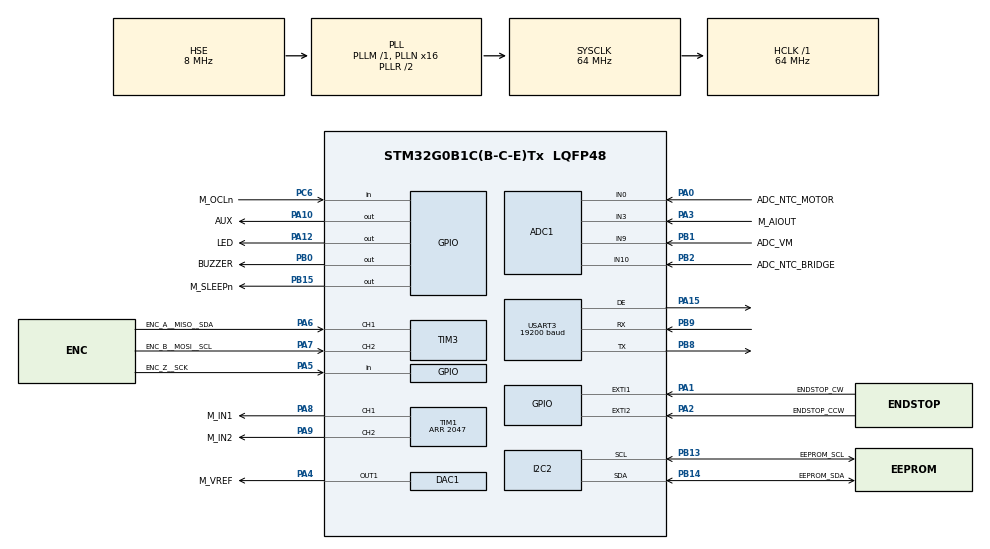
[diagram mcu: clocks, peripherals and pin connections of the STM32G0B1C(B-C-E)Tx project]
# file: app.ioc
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ADC1.Channel-0\#ChannelRegularConversion=ADC_CHANNEL_0
ADC1.Channel-1\#ChannelRegularConversion=ADC_CHANNEL_3
ADC1.Channel-2\#ChannelRegularConversion=ADC_CHANNEL_9
ADC1.Channel-3\#ChannelRegularConversion=ADC_CHANNEL_10
ADC1.ClockPrescaler=ADC_CLOCK_ASYNC_DIV2
ADC1.ContinuousConvMode=ENABLE
ADC1.DMAContinuousRequests=ENABLE
ADC1.EOCSelection=ADC_EOC_SINGLE_CONV
ADC1.NbrOfConversion=4
ADC1.NbrOfConversionFlag=1
ADC1.Overrun=ADC_OVR_DATA_OVERWRITTEN
ADC1.Rank-0\#ChannelRegularConversion=1
ADC1.Rank-1\#ChannelRegularConversion=2
ADC1.Rank-2\#ChannelRegularConversion=3
ADC1.Rank-3\#ChannelRegularConversion=4
ADC1.SamplingTime-0\#ChannelRegularConversion=ADC_SAMPLINGTIME_COMMON_1
ADC1.SamplingTime-1\#ChannelRegularConversion=ADC_SAMPLINGTIME_COMMON_1
ADC1.SamplingTime-2\#ChannelRegularConversion=ADC_SAMPLINGTIME_COMMON_1
ADC1.SamplingTime-3\#ChannelRegularConversion=ADC_SAMPLINGTIME_COMMON_1
ADC1.SamplingTimeCommon1=ADC_SAMPLETIME_160CYCLES_5
ADC1.SamplingTimeCommon2=ADC_SAMPLETIME_160CYCLES_5
ADC1.SelectedChannel=ADC_CHANNEL_0|ADC_CHANNEL_3|ADC_CHANNEL_9|ADC_CHANNEL_10
ADC1.master=1
DAC1.DAC_Channel-DAC_OUT1=DAC_CHANNEL_1
DAC1.DAC_SampleAndHold-DAC_OUT1=DAC_SAMPLEANDHOLD_DISABLE
Dma.ADC1.0.Direction=DMA_PERIPH_TO_MEMORY
Dma.ADC1.0.EventEnable=DISABLE
Dma.ADC1.0.Instance=DMA1_Channel1
Dma.ADC1.0.MemDataAlignment=DMA_MDATAALIGN_HALFWORD
Dma.ADC1.0.MemInc=DMA_MINC_ENABLE
Dma.ADC1.0.Mode=DMA_CIRCULAR
Dma.ADC1.0.PeriphDataAlignment=DMA_PDATAALIGN_HALFWORD
Dma.ADC1.0.PeriphInc=DMA_PINC_DISABLE
Dma.ADC1.0.Polarity=HAL_DMAMUX_REQ_GEN_RISING
Dma.ADC1.0.Priority=DMA_PRIORITY_LOW
Dma.ADC1.0.RequestNumber=1
Dma.ADC1.0.SignalID=NONE
Dma.ADC1.0.SyncEnable=DISABLE
Dma.ADC1.0.SyncPolarity=HAL_DMAMUX_SYNC_NO_EVENT
Dma.ADC1.0.SyncRequestNumber=1
Dma.ADC1.0.SyncSignalID=NONE
Dma.Request0=ADC1
I2C2.Timing=0x10B17DB5
IWDG.Prescaler=IWDG_PRESCALER_32
Mcu.Family=STM32G0
Mcu.Name=STM32G0B1C(B-C-E)Tx
Mcu.Package=LQFP48
Mcu.UserConstants=TIM14_PSC,63;TIM14_AAR,9999
NVIC.EXTI0_1_IRQn=true\:0\:0\:false\:false\:true\:true\:true\:true
NVIC.EXTI2_3_IRQn=true\:0\:0\:false\:false\:true\:true\:true\:true
NVIC.TIM14_IRQn=true\:0\:0\:false\:false\:true\:true\:true\:true
NVIC.USART3_4_5_6_LPUART1_IRQn=true\:0\:0\:false\:false\:true\:true\:true\:true
PA0.GPIO_Label=ADC_NTC_MOTOR
PA0.Mode=IN0
PA0.Signal=ADC1_IN0
PA1.GPIO_Label=ENDSTOP_CW
PA1.GPIO_ModeDefaultEXTI=GPIO_MODE_IT_FALLING
PA1.Signal=GPXTI1
PA10.GPIO_Label=AUX
PA10.Signal=GPIO_Output
PA12\ [PA10].GPIO_Label=LED
PA12\ [PA10].Signal=GPIO_Output
PA13.Mode=Serial_Wire
PA13.Signal=SYS_SWDIO
PA14-BOOT0.Mode=Serial_Wire
PA14-BOOT0.Signal=SYS_SWCLK
PA15.Mode=Hardware Flow Control (RS485)
PA15.Signal=USART3_DE
PA2.GPIO_Label=ENDSTOP_CCW
PA2.GPIO_ModeDefaultEXTI=GPIO_MODE_IT_FALLING
PA2.Signal=GPXTI2
PA3.GPIO_Label=M_AIOUT
PA3.Mode=IN3
PA3.Signal=ADC1_IN3
PA4.GPIO_Label=M_VREF
PA4.Signal=COMP_DAC11_group
PA5.GPIO_Label=ENC_Z__SCK
PA5.Signal=SharedStack_PA5
PA5.Stacked=true
PA6.GPIO_Label=ENC_A__MISO__SDA
PA6.GPIO_PuPd=GPIO_PULLUP
PA6.Signal=SharedStack_PA6
PA6.Stacked=true
PA7.GPIO_Label=ENC_B__MOSI__SCL
PA7.Signal=SharedStack_PA7
PA7.Stacked=true
PA8.GPIO_Label=M_IN1
PA8.Signal=S_TIM1_CH1
PA9.GPIO_Label=M_IN2
PA9.Signal=S_TIM1_CH2
PB0.GPIO_Label=BUZZER
PB0.Signal=GPIO_Output
PB1.GPIO_Label=ADC_VM
PB1.Mode=IN9
PB1.Signal=ADC1_IN9
PB13.GPIO_Label=EEPROM_SCL
PB13.Mode=I2C
PB13.Signal=I2C2_SCL
PB14.GPIO_Label=EEPROM_SDA
PB14.Mode=I2C
PB14.Signal=I2C2_SDA
PB15.GPIO_Label=M_SLEEPn
PB15.Signal=GPIO_Output
PB2.GPIO_Label=ADC_NTC_BRIDGE
PB2.Mode=IN10
PB2.Signal=ADC1_IN10
PB8.Signal=SharedStack_PB8
PB8.Stacked=true
PB9.Signal=SharedStack_PB9
PB9.Stacked=true
PC6.GPIO_Label=M_OCLn
PC6.Signal=GPIO_Input
PF0-OSC_IN\ (PF0).Mode=HSE-External-Oscillator
PF0-OSC_IN\ (PF0).Signal=RCC_OSC_IN
PF1-OSC_OUT\ (PF1).Mode=HSE-External-Oscillator
PF1-OSC_OUT\ (PF1).Signal=RCC_OSC_OUT
ProjectManager.HeapSize=0x200
ProjectManager.StackSize=0x400
ProjectManager.TargetToolchain=STM32CubeIDE
RCC.ADCFreq_Value=64000000
RCC.AHBFreq_Value=64000000
RCC.CortexFreq_Value=64000000
RCC.EXTERNAL_CLOCK_VALUE=48000
RCC.HCLKFreq_Value=64000000
RCC.HSE_VALUE=8000000
RCC.HSI48_VALUE=48000000
RCC.HSI_VALUE=16000000
RCC.LSE_VALUE=32768
RCC.PLLN=16
RCC.PLLP=RCC_PLLP_DIV4
RCC.PLLSourceVirtual=RCC_PLLSOURCE_HSE
RCC.SYSCLKFreq_VALUE=64000000
RCC.SYSCLKSource=RCC_SYSCLKSOURCE_PLLCLK
RCC.USBFreq_Value=48000000
RCC.VCOOutputFreq_Value=128000000
SH.COMP_DAC11_group.0=DAC1_OUT1,DAC_OUT1
SH.S_TIM1_CH1.0=TIM1_CH1,PWM Generation1 CH1
SH.S_TIM1_CH2.0=TIM1_CH2,PWM Generation2 CH2
SH.SharedStack_PA5.0=GPIO_Input
SH.SharedStack_PA5.1=SPI1_SCK
SH.SharedStack_PA6.0=TIM3_CH1,Encoder_Interface
SH.SharedStack_PA6.1=I2C3_SDA
SH.SharedStack_PA6.2=SPI1_MISO
SH.SharedStack_PA7.0=TIM3_CH2,Encoder_Interface
SH.SharedStack_PA7.1=I2C3_SCL
SH.SharedStack_PA7.2=SPI1_MOSI
SH.SharedStack_PB8.0=USART3_TX,Asynchronous
SH.SharedStack_PB8.1=FDCAN1_RX
SH.SharedStack_PB9.0=USART3_RX,Asynchronous
SH.SharedStack_PB9.1=FDCAN1_TX
TIM1.Channel-PWM\ Generation1\ CH1=TIM_CHANNEL_1
TIM1.Channel-PWM\ Generation2\ CH2=TIM_CHANNEL_2
TIM1.Period=2047
TIM14.Period=TIM14_AAR
TIM14.Prescaler=TIM14_PSC
TIM16.Period=65535
TIM16.Prescaler=3199
TIM3.IC1Polarity=TIM_ICPOLARITY_FALLING
TIM3.IC2Polarity=TIM_ICPOLARITY_FALLING
USART3.AutoBaudRateEnableParam=UART_ADVFEATURE_AUTOBAUDRATE_DISABLE
USART3.BaudRate=19200
USART3.DataInvertParam=ADVFEATURE_DATAINV_DISABLE
USART3.OverrunDisableParam=ADVFEATURE_OVERRUN_ENABLE
USART3.SwapParam=ADVFEATURE_SWAP_DISABLE
USART3.VirtualMode-Asynchronous=VM_ASYNC
USART3.VirtualMode-Hardware\ Flow\ Control\ (RS485)=VM_ASYNC
VP_CRC_VS_CRC.Mode=CRC_Activate
VP_IWDG_VS_IWDG.Mode=IWDG_Activate
VP_SYS_VS_DBSignals.Mode=DisableDeadBatterySignals
VP_TIM14_VS_ClockSourceINT.Mode=Enable_Timer
VP_TIM16_VS_ClockSourceINT.Mode=Enable_Timer
board=custom

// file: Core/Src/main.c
/* USER CODE BEGIN Header */
/**
  ******************************************************************************
  * @file           : main.c
  * @brief          : Main program body
  ******************************************************************************
  * @attention
  *
  * Copyright (c) 2025 STMicroelectronics.
  * All rights reserved.
  *
  * This software is licensed under terms that can be found in the LICENSE file
  * in the root directory of this software component.
  * If no LICENSE file comes with this software, it is provided AS-IS.
  *
  ******************************************************************************
  */
/* USER CODE END Header */
#include "main.h"

/* USER CODE BEGIN Includes */
#include "enc.h"
#include "motor.h"
#include "shared.h"
#include "modbus.h"
#include "utils.h"
#include <stdbool.h>
#include "adc.h"

/* USER CODE END Includes */

ADC_HandleTypeDef hadc1;
DMA_HandleTypeDef hdma_adc1;

CRC_HandleTypeDef hcrc;

DAC_HandleTypeDef hdac1;

I2C_HandleTypeDef hi2c2;

IWDG_HandleTypeDef hiwdg;

TIM_HandleTypeDef htim1;
TIM_HandleTypeDef htim3;
TIM_HandleTypeDef htim14;
TIM_HandleTypeDef htim16;

UART_HandleTypeDef huart3;

/* USER CODE BEGIN PV */

extern uint32_t _bflag;
uint32_t *bootloaderFlag = (uint32_t *)(&_bflag);

/* USER CODE END PV */

void SystemClock_Config(void);
static void MX_GPIO_Init(void);
static void MX_DMA_Init(void);
static void MX_ADC1_Init(void);
static void MX_DAC1_Init(void);
static void MX_I2C2_Init(void);
static void MX_TIM1_Init(void);
static void MX_USART3_UART_Init(void);
static void MX_TIM14_Init(void);
static void MX_CRC_Init(void);
static void MX_TIM3_Init(void);
static void MX_TIM16_Init(void);

int main(void)
{

  /* MCU Configuration--------------------------------------------------------*/

  /* Reset of all peripherals, Initializes the Flash interface and the Systick. */
  HAL_Init();

  /* USER CODE BEGIN Init */
  hiwdg.Instance = IWDG;
  /* USER CODE END Init */

  /* Configure the system clock */
  SystemClock_Config();

  /* Initialize all configured peripherals */
  MX_GPIO_Init();
  MX_DMA_Init();
  MX_ADC1_Init();
  MX_DAC1_Init();
  MX_I2C2_Init();
  MX_TIM1_Init();
  MX_USART3_UART_Init();
  MX_TIM14_Init();
  MX_CRC_Init();
  MX_TIM3_Init();
  MX_TIM16_Init();
  /* USER CODE BEGIN 2 */
//  CONFIG_Save();

  CONFIG_Load();

  COM_Init();

  ENCODER_Init();

  ADC_Init();

  MOTOR_Init();

  /* USER CODE END 2 */

  /* Infinite loop */
  /* USER CODE BEGIN WHILE */
  BEEP_IT(50, 1);

  while (1)
  {
	ENCODER_MainLoop();
	COM_MainLoop();
	ADC_MainLoop();
	MOTOR_MainLoop();
    /* USER CODE END WHILE */

    /* USER CODE BEGIN 3 */
	UTILS_MainLoop();
 	HAL_IWDG_Refresh(&hiwdg);
  }
  /* USER CODE END 3 */
}

void SystemClock_Config(void)
{
  RCC_OscInitTypeDef RCC_OscInitStruct = {0};
  RCC_ClkInitTypeDef RCC_ClkInitStruct = {0};

  /** Configure the main internal regulator output voltage
  */
  HAL_PWREx_ControlVoltageScaling(PWR_REGULATOR_VOLTAGE_SCALE1);

  /** Initializes the RCC Oscillators according to the specified parameters
  * in the RCC_OscInitTypeDef structure.
  */
  RCC_OscInitStruct.OscillatorType = RCC_OSCILLATORTYPE_LSI|RCC_OSCILLATORTYPE_HSE;
  RCC_OscInitStruct.HSEState = RCC_HSE_ON;
  RCC_OscInitStruct.LSIState = RCC_LSI_ON;
  RCC_OscInitStruct.PLL.PLLState = RCC_PLL_ON;
  RCC_OscInitStruct.PLL.PLLSource = RCC_PLLSOURCE_HSE;
  RCC_OscInitStruct.PLL.PLLM = RCC_PLLM_DIV1;
  RCC_OscInitStruct.PLL.PLLN = 16;
  RCC_OscInitStruct.PLL.PLLP = RCC_PLLP_DIV4;
  RCC_OscInitStruct.PLL.PLLQ = RCC_PLLQ_DIV2;
  RCC_OscInitStruct.PLL.PLLR = RCC_PLLR_DIV2;
  if (HAL_RCC_OscConfig(&RCC_OscInitStruct) != HAL_OK)
  {
    Error_Handler();
  }

  /** Initializes the CPU, AHB and APB buses clocks
  */
  RCC_ClkInitStruct.ClockType = RCC_CLOCKTYPE_HCLK|RCC_CLOCKTYPE_SYSCLK
                              |RCC_CLOCKTYPE_PCLK1;
  RCC_ClkInitStruct.SYSCLKSource = RCC_SYSCLKSOURCE_PLLCLK;
  RCC_ClkInitStruct.AHBCLKDivider = RCC_SYSCLK_DIV1;
  RCC_ClkInitStruct.APB1CLKDivider = RCC_HCLK_DIV1;

  if (HAL_RCC_ClockConfig(&RCC_ClkInitStruct, FLASH_LATENCY_2) != HAL_OK)
  {
    Error_Handler();
  }
}

static void MX_ADC1_Init(void)
{

  ADC_ChannelConfTypeDef sConfig = {0};

  /** Configure the global features of the ADC (Clock, Resolution, Data Alignment and number of conversion)
  */
  hadc1.Instance = ADC1;
  hadc1.Init.ClockPrescaler = ADC_CLOCK_ASYNC_DIV2;
  hadc1.Init.Resolution = ADC_RESOLUTION_12B;
  hadc1.Init.DataAlign = ADC_DATAALIGN_RIGHT;
  hadc1.Init.ScanConvMode = ADC_SCAN_ENABLE;
  hadc1.Init.EOCSelection = ADC_EOC_SINGLE_CONV;
  hadc1.Init.LowPowerAutoWait = DISABLE;
  hadc1.Init.LowPowerAutoPowerOff = DISABLE;
  hadc1.Init.ContinuousConvMode = ENABLE;
  hadc1.Init.NbrOfConversion = 4;
  hadc1.Init.ExternalTrigConv = ADC_SOFTWARE_START;
  hadc1.Init.ExternalTrigConvEdge = ADC_EXTERNALTRIGCONVEDGE_NONE;
  hadc1.Init.DMAContinuousRequests = ENABLE;
  hadc1.Init.Overrun = ADC_OVR_DATA_OVERWRITTEN;
  hadc1.Init.SamplingTimeCommon1 = ADC_SAMPLETIME_160CYCLES_5;
  hadc1.Init.SamplingTimeCommon2 = ADC_SAMPLETIME_160CYCLES_5;
  hadc1.Init.OversamplingMode = DISABLE;
  hadc1.Init.TriggerFrequencyMode = ADC_TRIGGER_FREQ_HIGH;
  if (HAL_ADC_Init(&hadc1) != HAL_OK)
  {
    Error_Handler();
  }

  /** Configure Regular Channel
  */
  sConfig.Channel = ADC_CHANNEL_0;
  sConfig.Rank = ADC_REGULAR_RANK_1;
  sConfig.SamplingTime = ADC_SAMPLINGTIME_COMMON_1;
  if (HAL_ADC_ConfigChannel(&hadc1, &sConfig) != HAL_OK)
  {
    Error_Handler();
  }

  /** Configure Regular Channel
  */
  sConfig.Channel = ADC_CHANNEL_3;
  sConfig.Rank = ADC_REGULAR_RANK_2;
  if (HAL_ADC_ConfigChannel(&hadc1, &sConfig) != HAL_OK)
  {
    Error_Handler();
  }

  /** Configure Regular Channel
  */
  sConfig.Channel = ADC_CHANNEL_9;
  sConfig.Rank = ADC_REGULAR_RANK_3;
  if (HAL_ADC_ConfigChannel(&hadc1, &sConfig) != HAL_OK)
  {
    Error_Handler();
  }

  /** Configure Regular Channel
  */
  sConfig.Channel = ADC_CHANNEL_10;
  sConfig.Rank = ADC_REGULAR_RANK_4;
  if (HAL_ADC_ConfigChannel(&hadc1, &sConfig) != HAL_OK)
  {
    Error_Handler();
  }

}

static void MX_CRC_Init(void)
{

  hcrc.Instance = CRC;
  hcrc.Init.DefaultPolynomialUse = DEFAULT_POLYNOMIAL_ENABLE;
  hcrc.Init.DefaultInitValueUse = DEFAULT_INIT_VALUE_ENABLE;
  hcrc.Init.InputDataInversionMode = CRC_INPUTDATA_INVERSION_NONE;
  hcrc.Init.OutputDataInversionMode = CRC_OUTPUTDATA_INVERSION_DISABLE;
  hcrc.InputDataFormat = CRC_INPUTDATA_FORMAT_BYTES;
  if (HAL_CRC_Init(&hcrc) != HAL_OK)
  {
    Error_Handler();
  }

}

static void MX_DAC1_Init(void)
{

  DAC_ChannelConfTypeDef sConfig = {0};

  /** DAC Initialization
  */
  hdac1.Instance = DAC1;
  if (HAL_DAC_Init(&hdac1) != HAL_OK)
  {
    Error_Handler();
  }

  /** DAC channel OUT1 config
  */
  sConfig.DAC_SampleAndHold = DAC_SAMPLEANDHOLD_DISABLE;
  sConfig.DAC_Trigger = DAC_TRIGGER_NONE;
  sConfig.DAC_OutputBuffer = DAC_OUTPUTBUFFER_ENABLE;
  sConfig.DAC_ConnectOnChipPeripheral = DAC_CHIPCONNECT_DISABLE;
  sConfig.DAC_UserTrimming = DAC_TRIMMING_FACTORY;
  if (HAL_DAC_ConfigChannel(&hdac1, &sConfig, DAC_CHANNEL_1) != HAL_OK)
  {
    Error_Handler();
  }

}

static void MX_I2C2_Init(void)
{

  hi2c2.Instance = I2C2;
  hi2c2.Init.Timing = 0x10B17DB5;
  hi2c2.Init.OwnAddress1 = 0;
  hi2c2.Init.AddressingMode = I2C_ADDRESSINGMODE_7BIT;
  hi2c2.Init.DualAddressMode = I2C_DUALADDRESS_DISABLE;
  hi2c2.Init.OwnAddress2 = 0;
  hi2c2.Init.OwnAddress2Masks = I2C_OA2_NOMASK;
  hi2c2.Init.GeneralCallMode = I2C_GENERALCALL_DISABLE;
  hi2c2.Init.NoStretchMode = I2C_NOSTRETCH_DISABLE;
  if (HAL_I2C_Init(&hi2c2) != HAL_OK)
  {
    Error_Handler();
  }

  /** Configure Analogue filter
  */
  if (HAL_I2CEx_ConfigAnalogFilter(&hi2c2, I2C_ANALOGFILTER_ENABLE) != HAL_OK)
  {
    Error_Handler();
  }

  /** Configure Digital filter
  */
  if (HAL_I2CEx_ConfigDigitalFilter(&hi2c2, 0) != HAL_OK)
  {
    Error_Handler();
  }

}

void MX_IWDG_Init(void)
{

  hiwdg.Instance = IWDG;
  hiwdg.Init.Prescaler = IWDG_PRESCALER_32;
  hiwdg.Init.Window = 4095;
  hiwdg.Init.Reload = 4095;
  if (HAL_IWDG_Init(&hiwdg) != HAL_OK)
  {
    Error_Handler();
  }

}

static void MX_TIM1_Init(void)
{

  TIM_MasterConfigTypeDef sMasterConfig = {0};
  TIM_OC_InitTypeDef sConfigOC = {0};
  TIM_BreakDeadTimeConfigTypeDef sBreakDeadTimeConfig = {0};

  htim1.Instance = TIM1;
  htim1.Init.Prescaler = 0;
  htim1.Init.CounterMode = TIM_COUNTERMODE_UP;
  htim1.Init.Period = 2047;
  htim1.Init.ClockDivision = TIM_CLOCKDIVISION_DIV1;
  htim1.Init.RepetitionCounter = 0;
  htim1.Init.AutoReloadPreload = TIM_AUTORELOAD_PRELOAD_DISABLE;
  if (HAL_TIM_PWM_Init(&htim1) != HAL_OK)
  {
    Error_Handler();
  }
  sMasterConfig.MasterOutputTrigger = TIM_TRGO_RESET;
  sMasterConfig.MasterOutputTrigger2 = TIM_TRGO2_RESET;
  sMasterConfig.MasterSlaveMode = TIM_MASTERSLAVEMODE_DISABLE;
  if (HAL_TIMEx_MasterConfigSynchronization(&htim1, &sMasterConfig) != HAL_OK)
  {
    Error_Handler();
  }
  sConfigOC.OCMode = TIM_OCMODE_PWM1;
  sConfigOC.Pulse = 0;
  sConfigOC.OCPolarity = TIM_OCPOLARITY_HIGH;
  sConfigOC.OCNPolarity = TIM_OCNPOLARITY_HIGH;
  sConfigOC.OCFastMode = TIM_OCFAST_DISABLE;
  sConfigOC.OCIdleState = TIM_OCIDLESTATE_RESET;
  sConfigOC.OCNIdleState = TIM_OCNIDLESTATE_RESET;
  if (HAL_TIM_PWM_ConfigChannel(&htim1, &sConfigOC, TIM_CHANNEL_1) != HAL_OK)
  {
    Error_Handler();
  }
  if (HAL_TIM_PWM_ConfigChannel(&htim1, &sConfigOC, TIM_CHANNEL_2) != HAL_OK)
  {
    Error_Handler();
  }
  sBreakDeadTimeConfig.OffStateRunMode = TIM_OSSR_DISABLE;
  sBreakDeadTimeConfig.OffStateIDLEMode = TIM_OSSI_DISABLE;
  sBreakDeadTimeConfig.LockLevel = TIM_LOCKLEVEL_OFF;
  sBreakDeadTimeConfig.DeadTime = 0;
  sBreakDeadTimeConfig.BreakState = TIM_BREAK_DISABLE;
  sBreakDeadTimeConfig.BreakPolarity = TIM_BREAKPOLARITY_HIGH;
  sBreakDeadTimeConfig.BreakFilter = 0;
  sBreakDeadTimeConfig.BreakAFMode = TIM_BREAK_AFMODE_INPUT;
  sBreakDeadTimeConfig.Break2State = TIM_BREAK2_DISABLE;
  sBreakDeadTimeConfig.Break2Polarity = TIM_BREAK2POLARITY_HIGH;
  sBreakDeadTimeConfig.Break2Filter = 0;
  sBreakDeadTimeConfig.Break2AFMode = TIM_BREAK_AFMODE_INPUT;
  sBreakDeadTimeConfig.AutomaticOutput = TIM_AUTOMATICOUTPUT_DISABLE;
  if (HAL_TIMEx_ConfigBreakDeadTime(&htim1, &sBreakDeadTimeConfig) != HAL_OK)
  {
    Error_Handler();
  }
  HAL_TIM_MspPostInit(&htim1);

}

static void MX_TIM3_Init(void)
{

  TIM_Encoder_InitTypeDef sConfig = {0};
  TIM_MasterConfigTypeDef sMasterConfig = {0};

  htim3.Instance = TIM3;
  htim3.Init.Prescaler = 0;
  htim3.Init.CounterMode = TIM_COUNTERMODE_UP;
  htim3.Init.Period = 65535;
  htim3.Init.ClockDivision = TIM_CLOCKDIVISION_DIV1;
  htim3.Init.AutoReloadPreload = TIM_AUTORELOAD_PRELOAD_DISABLE;
  sConfig.EncoderMode = TIM_ENCODERMODE_TI1;
  sConfig.IC1Polarity = TIM_ICPOLARITY_FALLING;
  sConfig.IC1Selection = TIM_ICSELECTION_DIRECTTI;
  sConfig.IC1Prescaler = TIM_ICPSC_DIV1;
  sConfig.IC1Filter = 0;
  sConfig.IC2Polarity = TIM_ICPOLARITY_FALLING;
  sConfig.IC2Selection = TIM_ICSELECTION_DIRECTTI;
  sConfig.IC2Prescaler = TIM_ICPSC_DIV1;
  sConfig.IC2Filter = 0;
  if (HAL_TIM_Encoder_Init(&htim3, &sConfig) != HAL_OK)
  {
    Error_Handler();
  }
  sMasterConfig.MasterOutputTrigger = TIM_TRGO_RESET;
  sMasterConfig.MasterSlaveMode = TIM_MASTERSLAVEMODE_DISABLE;
  if (HAL_TIMEx_MasterConfigSynchronization(&htim3, &sMasterConfig) != HAL_OK)
  {
    Error_Handler();
  }

}

static void MX_TIM14_Init(void)
{

  htim14.Instance = TIM14;
  htim14.Init.Prescaler = TIM14_PSC;
  htim14.Init.CounterMode = TIM_COUNTERMODE_UP;
  htim14.Init.Period = TIM14_AAR;
  htim14.Init.ClockDivision = TIM_CLOCKDIVISION_DIV1;
  htim14.Init.AutoReloadPreload = TIM_AUTORELOAD_PRELOAD_DISABLE;
  if (HAL_TIM_Base_Init(&htim14) != HAL_OK)
  {
    Error_Handler();
  }

}

static void MX_TIM16_Init(void)
{

  htim16.Instance = TIM16;
  htim16.Init.Prescaler = 3199;
  htim16.Init.CounterMode = TIM_COUNTERMODE_UP;
  htim16.Init.Period = 65535;
  htim16.Init.ClockDivision = TIM_CLOCKDIVISION_DIV1;
  htim16.Init.RepetitionCounter = 0;
  htim16.Init.AutoReloadPreload = TIM_AUTORELOAD_PRELOAD_DISABLE;
  if (HAL_TIM_Base_Init(&htim16) != HAL_OK)
  {
    Error_Handler();
  }

}

static void MX_USART3_UART_Init(void)
{

  huart3.Instance = USART3;
  huart3.Init.BaudRate = 19200;
  huart3.Init.WordLength = UART_WORDLENGTH_8B;
  huart3.Init.StopBits = UART_STOPBITS_1;
  huart3.Init.Parity = UART_PARITY_NONE;
  huart3.Init.Mode = UART_MODE_TX_RX;
  huart3.Init.HwFlowCtl = UART_HWCONTROL_NONE;
  huart3.Init.OverSampling = UART_OVERSAMPLING_16;
  huart3.Init.OneBitSampling = UART_ONE_BIT_SAMPLE_DISABLE;
  huart3.Init.ClockPrescaler = UART_PRESCALER_DIV1;
  huart3.AdvancedInit.AdvFeatureInit = UART_ADVFEATURE_NO_INIT;
  if (HAL_RS485Ex_Init(&huart3, UART_DE_POLARITY_HIGH, 0, 0) != HAL_OK)
  {
    Error_Handler();
  }
  if (HAL_UARTEx_SetTxFifoThreshold(&huart3, UART_TXFIFO_THRESHOLD_1_8) != HAL_OK)
  {
    Error_Handler();
  }
  if (HAL_UARTEx_SetRxFifoThreshold(&huart3, UART_RXFIFO_THRESHOLD_1_8) != HAL_OK)
  {
    Error_Handler();
  }
  if (HAL_UARTEx_DisableFifoMode(&huart3) != HAL_OK)
  {
    Error_Handler();
  }

}

static void MX_DMA_Init(void)
{

  /* DMA controller clock enable */
  __HAL_RCC_DMA1_CLK_ENABLE();

}

static void MX_GPIO_Init(void)
{
  GPIO_InitTypeDef GPIO_InitStruct = {0};

  /* GPIO Ports Clock Enable */
  __HAL_RCC_GPIOF_CLK_ENABLE();
  __HAL_RCC_GPIOA_CLK_ENABLE();
  __HAL_RCC_GPIOB_CLK_ENABLE();
  __HAL_RCC_GPIOC_CLK_ENABLE();

  /*Configure GPIO pin Output Level */
  HAL_GPIO_WritePin(GPIOB, BUZZER_Pin|M_SLEEPn_Pin, GPIO_PIN_RESET);

  /*Configure GPIO pin Output Level */
  HAL_GPIO_WritePin(GPIOA, AUX_Pin|LED_Pin, GPIO_PIN_RESET);

  /*Configure GPIO pins : ENDSTOP_CW_Pin ENDSTOP_CCW_Pin */
  GPIO_InitStruct.Pin = ENDSTOP_CW_Pin|ENDSTOP_CCW_Pin;
  GPIO_InitStruct.Mode = GPIO_MODE_IT_FALLING;
  GPIO_InitStruct.Pull = GPIO_NOPULL;
  HAL_GPIO_Init(GPIOA, &GPIO_InitStruct);

  /*Configure GPIO pins : BUZZER_Pin M_SLEEPn_Pin */
  GPIO_InitStruct.Pin = BUZZER_Pin|M_SLEEPn_Pin;
  GPIO_InitStruct.Mode = GPIO_MODE_OUTPUT_PP;
  GPIO_InitStruct.Pull = GPIO_NOPULL;
  GPIO_InitStruct.Speed = GPIO_SPEED_FREQ_LOW;
  HAL_GPIO_Init(GPIOB, &GPIO_InitStruct);

  /*Configure GPIO pin : M_OCLn_Pin */
  GPIO_InitStruct.Pin = M_OCLn_Pin;
  GPIO_InitStruct.Mode = GPIO_MODE_INPUT;
  GPIO_InitStruct.Pull = GPIO_NOPULL;
  HAL_GPIO_Init(M_OCLn_GPIO_Port, &GPIO_InitStruct);

  /*Configure GPIO pins : AUX_Pin LED_Pin */
  GPIO_InitStruct.Pin = AUX_Pin|LED_Pin;
  GPIO_InitStruct.Mode = GPIO_MODE_OUTPUT_PP;
  GPIO_InitStruct.Pull = GPIO_NOPULL;
  GPIO_InitStruct.Speed = GPIO_SPEED_FREQ_LOW;
  HAL_GPIO_Init(GPIOA, &GPIO_InitStruct);

  /* EXTI interrupt init*/
  HAL_NVIC_SetPriority(EXTI0_1_IRQn, 0, 0);
  HAL_NVIC_EnableIRQ(EXTI0_1_IRQn);

  HAL_NVIC_SetPriority(EXTI2_3_IRQn, 0, 0);
  HAL_NVIC_EnableIRQ(EXTI2_3_IRQn);

}

void Error_Handler(void)
{
  __disable_irq();
  while (1)
  {
  }
}
